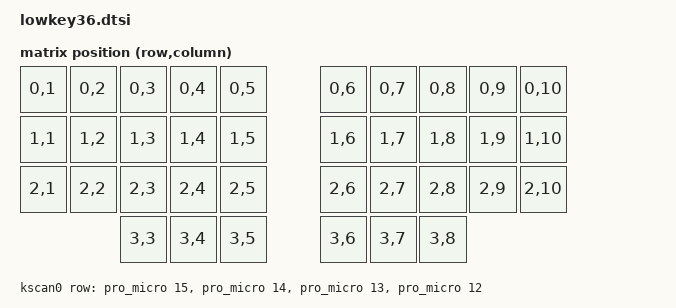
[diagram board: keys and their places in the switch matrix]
/*
 * Copyright (c) 2024 Matt Gilbert
 *
 * SPDX-License-Identifier: MIT
 */

#include <dt-bindings/zmk/matrix_transform.h>
#include "lowkey36-layouts.dtsi"

// pulled from nice_nano overlay in the nice_view_adapter. Pins have been changed for lowkey36
&pinctrl {
    spi0_default: spi0_default {
        group1 {
            psels
                = <NRF_PSEL(SPIM_SCK, 0, 17)>
                , <NRF_PSEL(SPIM_MOSI, 0, 20)>
                ;
        };
    };
    spi0_sleep: spi0_sleep {
        group1 {
            psels
                = <NRF_PSEL(SPIM_SCK, 0, 17)>
                , <NRF_PSEL(SPIM_MOSI, 0, 20)>
                ;
            low-power-enable;
        };
    };
};

nice_view_spi: &spi0 {
    compatible = "nordic,nrf-spim";
    pinctrl-0 = <&spi0_default>;
    pinctrl-1 = <&spi0_sleep>;
    pinctrl-names = "default", "sleep";
    cs-gpios = <&pro_micro 1 GPIO_ACTIVE_HIGH>;
};

&pro_micro_i2c {
    status = "disabled";
};

/ {
    chosen {
        zmk,kscan = &kscan0;
        zmk,physical-layout = &lowkey36_physical_layout;
    };

    kscan0: kscan0 {
        compatible = "zmk,kscan-gpio-matrix";
        diode-direction = "col2row";
        wakeup-source;
        row-gpios
            = <&pro_micro 15 (GPIO_ACTIVE_HIGH | GPIO_PULL_DOWN)> // row0
            , <&pro_micro 14 (GPIO_ACTIVE_HIGH | GPIO_PULL_DOWN)> // row1
            , <&pro_micro 13 (GPIO_ACTIVE_HIGH | GPIO_PULL_DOWN)> // row2
            , <&pro_micro 12 (GPIO_ACTIVE_HIGH | GPIO_PULL_DOWN)> // row3
            ;
    };

    default_transform: keymap_transform0 {
        compatible = "zmk,matrix-transform";
        columns = <10>;
        rows = <4>;
        map = <
            RC(0,1) RC(0,2) RC(0,3) RC(0,4) RC(0,5)  RC(0,6) RC(0,7) RC(0,8) RC(0,9) RC(0,10)
            RC(1,1) RC(1,2) RC(1,3) RC(1,4) RC(1,5)  RC(1,6) RC(1,7) RC(1,8) RC(1,9) RC(1,10)
            RC(2,1) RC(2,2) RC(2,3) RC(2,4) RC(2,5)  RC(2,6) RC(2,7) RC(2,8) RC(2,9) RC(2,10)
                            RC(3,3) RC(3,4) RC(3,5)  RC(3,6) RC(3,7) RC(3,8)
        >;
    };
};
